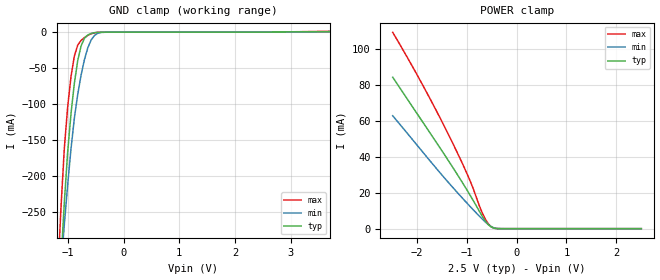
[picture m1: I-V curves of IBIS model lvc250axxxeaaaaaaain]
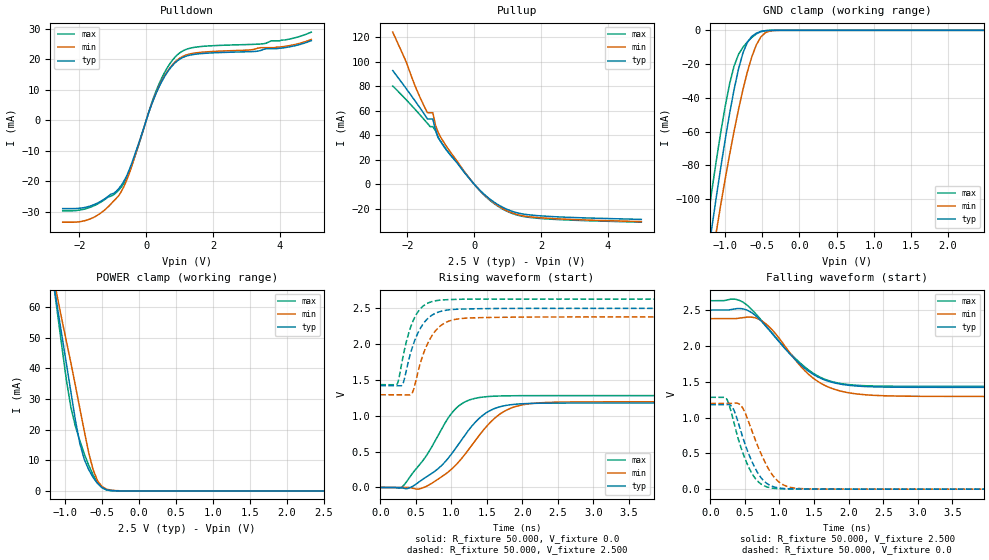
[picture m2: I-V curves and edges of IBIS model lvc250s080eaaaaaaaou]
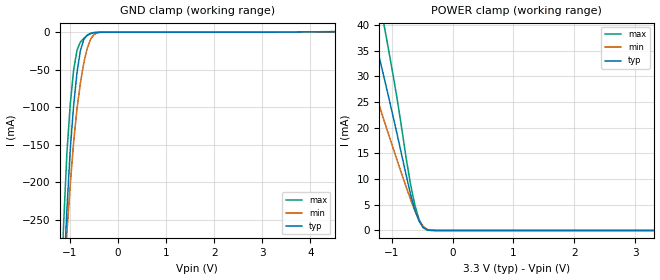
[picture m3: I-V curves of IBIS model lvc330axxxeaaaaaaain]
| IBIS Models Generator: Lattice Diamond (64-bit) 3.12.0.240.2
| Generate date: Sun Oct 31 18:49:16 2021
| IBIS File
| Lattice Semiconductor Corporation
[IBIS ver]   4.2
[File Name]   C200_FPGA_impl1.ibs
[File Rev]   2.8
[Date]   Mon Aug 19 18:47:03 PDT 2019
[Source]   Lattice Semiconductor umc40lp Process
   LFE5U-25F   FINAL
   Lattice Semiconductor has worked hard to ensure the
   models below are accurate and complete.  However, the
   data below was generated using simulation of the
   input/output model files for the silicon.  Therefore,
   the data below is for reference and initial design
   purposes only.
   Lattice Semiconductor grants permission to use this
   data for use in printed circuit design using this
   Lattice programmable logic device.  Other use of this
   code, including the selling or duplication of any
   portion is strictly prohibited.
|   NAMING CONVENTION
   The IBIS [Model] header is limited by the specification to a
   total of characters.  With such a set of characters available
   for naming models it becomes important to attempt to
   meaningfully encode the IO standards so they fit within the
   twenty character limit.  It would seem that twenty characters
   would provide room enough for describing IO's.  However, the
   PLD IO structure continues to grow more and more complex.  The
   complexity is making the twenty characters insuffiently
   descriptive.  In order to overcome this issue the naming
   convention described below is implemented to resolve the issue.
The twenty character space is managed as follows:
   bbbvvvsdddprttaaoixx
   b = standard
   v = voltage (x.xx V)
   s = slew code
   d = drive (xx.x ma)
   p = pullmode code
   r = impedance
   t = termination code
   o = diff resistor code
   i = diff  current code
   x = reserved
   standard
   LVCMOS   lvc
   lvcmosd   lvd
   LVDS25e   lve
   LVTTL   lvt
   lvttld   ltd
   sstl_I   ss1
   sstl_II   ss2
   sstld_I   s1d
   sstld_II   s2d
   hsul12   hs1
   hsul12d   h1d
   lvds   lvs
   blvds25   blv
   blvds25e   blv
   mlvds   mlv
   mlvds25e   mle
   lvpecl33   lvp
   lvpecl33e   lvp
   sublvds   slv
   slvs   svs
   slvs15e   sve
   mipi   mip
   vref1   vr1
   slew
   na   a
   fast   f
   slow   s
   pullmode
   off   a
   clamp   e
   impedance
   off   a
   termination
   off   aa
   50   cc
   75   dd
   150   ee
   differential resistor
   off   a
   100   b
   differential current
   NA   a
   3.5   c
   Reserved   IO type
   in   input only
   ou   output
   io   I/O
   od   Open drain
   on   Inverting differential I/O
   (signal name only)
   op   Non-Inverting differential I/O
   (signal name only)
   All the IO models are generated with pull mode set to none.
   Lattice Semiconductor Corporation
   5555 NE Moore Court
   Hillsboro, OR 97214
   U.S.A
   TEL: 1-800-Lattice (USA and Canada)
   408-826-6000 (other locations)
   web: http://www.latticesemi.com/
   email: techsupport@latticesemi.com
The IBIS models by default includes the worst case package data
under [package].  If detailed package model is required , it can be
enable using [package model] keyword.
The .pkg files are included in the zip file with the IBIS models.
The .pkg file has to be located in the same directory as IBIS file.
[Disclaimer] This IBIS source code is intended as a design reference
   which illustrates how the Lattice Semiconductor device operates.
   It is the user's responsibility to verify their design for
   consistency and functionality through the use of formal
   verification methods.  Lattice Semiconductor provides no warranty
   regarding the use or functionality of this data.
[Copyright]   Copyright 2007 by Lattice Semiconductor Corporation
|   Component SAPPHIRE
[Component]   SAPPHIRE
[Manufacturer]   Lattice Semiconductor Corp.
[Package]
|CABGA256
| variable   typ   min   max
R_pkg   301.88m   168.88m   475.12m
L_pkg   4.862nH   2.153nH   8.583nH
C_pkg   0.654pF   0.3926pF   1.017pF
[Pin]  signal_name   model_name   R_pin   L_pin   C_pin
P5   o_flash_wp   lvc250s080eaaaaaaaou
T2   o_flash_hold   lvc250s080eaaaaaaaou
C2   i_opto_switch   lvc330axxxeaaaaaaain
A2   o_spi_cs   lvc330s080eaaaaaaaou
T6   o_flash_clk   lvc250s080eaaaaaaaou
A3   o_spi_dclk   lvc330s080eaaaaaaaou
R7   o_program_n   lvc330s080aaaaaaaaod
A4   i_spi_miso   lvc330axxxeaaaaaaain
T7   i_flash_miso   lvc250axxxeaaaaaaain
T8   o_flash_mosi   lvc250s080eaaaaaaaou
N8   o_flash_cs   lvc250s080eaaaaaaaou
B5   o_motor_pwm   lvc330s080eaaaaaaaou
A5   o_spi_mosi   lvc330s080eaaaaaaaou
E7   i_clk_50m   lvc330axxxeaaaaaaain
A7   o_w5500_rst   lvc330s080eaaaaaaaou
A10   i_tdc_init   lvc330axxxeaaaaaaain
A11   o_tdc_spi_ssn   lvc330s080eaaaaaaaou
A12   o_tdc_spi_clk   lvc330s080eaaaaaaaou
B12   o_tdc_start   lvc330s080eaaaaaaaou
C12   o_adc_cs2   lvc330s080eaaaaaaaou
B13   o_tdc_stop2   lvc330s080eaaaaaaaou
C13   o_led_state   lvc330s080eaaaaaaaou
D13   o_dac_scl   lvc330s080eaaaaaaaou
E13   o_dac_sda   lvc330s080eaaaaaaaou
A13   o_tdc_spi_mosi   lvc330s080eaaaaaaaou
A14   i_tdc_spi_miso   lvc330axxxeaaaaaaain
B14   o_tdc_stop1   lvc330s080eaaaaaaaou
A15   o_tdc_reset   lvc330s080eaaaaaaaou
T13   io_sram_data[7]   lvc330s080eaaaaaaaio
T14   o_sram_addr[11]   lvc330s080eaaaaaaaou
R13   io_sram_data[15]   lvc330s080eaaaaaaaio
R14   o_sram_addr[10]   lvc330s080eaaaaaaaou
P13   io_sram_data[14]   lvc330s080eaaaaaaaio
T15   o_sram_addr[13]   lvc330s080eaaaaaaaou
R15   io_sram_data[6]   lvc330s080eaaaaaaaio
P14   o_sram_addr[9]   lvc330s080eaaaaaaaou
N13   io_sram_data[13]   lvc330s080eaaaaaaaio
N14   o_sram_addr[8]   lvc330s080eaaaaaaaou
M13   io_sram_data[12]   lvc330s080eaaaaaaaio
P16   io_sram_data[5]   lvc330s080eaaaaaaaio
M14   o_sram_addr[14]   lvc330s080eaaaaaaaou
L14   o_sram_addr[7]   lvc330s080eaaaaaaaou
P15   o_sram_addr[12]   lvc330s080eaaaaaaaou
N16   o_sram_we_n   lvc330s080eaaaaaaaou
L12   io_sram_data[11]   lvc330s080eaaaaaaaio
K12   io_sram_data[9]   lvc330s080eaaaaaaaio
M15   o_sram_addr[16]   lvc330s080eaaaaaaaou
M16   o_sram_addr[15]   lvc330s080eaaaaaaaou
L15   io_sram_data[2]   lvc330s080eaaaaaaaio
L16   io_sram_data[4]   lvc330s080eaaaaaaaio
K15   o_sram_addr[6]   lvc330s080eaaaaaaaou
K16   io_sram_data[3]   lvc330s080eaaaaaaaio
J15   o_sram_addr[5]   lvc330s080eaaaaaaaou
J16   o_sram_addr[17]   lvc330s080eaaaaaaaou
J14   o_sram_cs_n   lvc330s080eaaaaaaaou
H15   io_sram_data[1]   lvc330s080eaaaaaaaio
J12   io_sram_data[8]   lvc330s080eaaaaaaaio
J13   io_sram_data[10]   lvc330s080eaaaaaaaio
H13   o_sram_ub_n   lvc330s080eaaaaaaaou
H14   o_sram_addr[3]   lvc330s080eaaaaaaaou
G15   io_sram_data[0]   lvc330s080eaaaaaaaio
F16   o_sram_addr[4]   lvc330s080eaaaaaaaou
E16   o_sram_addr[1]   lvc330s080eaaaaaaaou
F15   o_sram_oe_n   lvc330s080eaaaaaaaou
E15   o_sram_addr[0]   lvc330s080eaaaaaaaou
D16   o_sram_addr[2]   lvc330s080eaaaaaaaou
F14   o_sram_lb_n   lvc330s080eaaaaaaaou
E14   o_dac_cs   lvc330s080eaaaaaaaou
C15   o_adc_sclk   lvc330s080eaaaaaaaou
C16   i_adc_sda   lvc330axxxeaaaaaaain
D14   o_laser_str   lvc330s080eaaaaaaaou
C14   o_hv_en   lvc330s080eaaaaaaaou
B16   o_adc_cs1   lvc330s080eaaaaaaaou
| Models and submodels in the file (6): lvc250axxxeaaaaaaain (Input), lvc250s080eaaaaaaaou (Output), lvc330axxxeaaaaaaain (Input), lvc330s080aaaaaaaaod (I/O_open_drain), lvc330s080eaaaaaaaio (I/O), lvc330s080eaaaaaaaou (Output)
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[Model] lvc250axxxeaaaaaaain
Model_type Input
Polarity   Non-Inverting
Vinl =  0.700V
Vinh =  1.700V
C_comp   3.899pF   3.881pF   3.925pF
[Temperature Range]   25.000   0.125k   -40.000
[Voltage Range]   2.500V   2.380V   2.630V
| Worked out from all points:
|   GND clamp passes 1 mA (typ) near -0.54 V on its own axis
|   POWER clamp passes 1 mA (typ) near -0.51 V on its own axis
[GND_clamp]
|Voltage   I(typ)   I(min)   I(max)
-2.5V     -3.07A     -2.187A    -4.081A
-1.18V    -407.1mA   -387.7mA   -341.4mA
-1.12V    -318.4mA   -325.7mA   -243.5mA
-1.06V    -236.4mA   -267.1mA   -161.1mA
-1V       -166.1mA   -212mA     -103.6mA
-940mV    -112.8mA   -161.5mA   -61.35mA
-820mV    -39.36mA   -86.41mA   -17.99mA
-760mV    -19.05mA   -59.65mA   -11.43mA
-640mV    -3.861mA   -21.85mA   -4.556mA
-520mV    -690.7uA   -4.492mA   -828.9uA
-340mV    -8.603uA   -109.8uA   -6.557uA
4.98V     1.752mA    1.203mA    2.322mA
[POWER_clamp]
|Voltage   I(typ)   I(min)   I(max)
-2.48V    84.32mA    62.88mA    109.3mA
-1.94V    61.91mA    44.74mA    83.06mA
-1.46V    41.93mA    28.79mA    57.77mA
-1.16V    29.03mA    19.33mA    40.78mA
-980mV    20.95mA    13.86mA    29.88mA
-860mV    15.32mA    10.31mA    21.76mA
-740mV    9.474mA    6.847mA    12.43mA
-680mV    6.568mA    5.18mA     8.377mA
-560mV    2.092mA    2.141mA    2.486mA
-500mV    818.1uA    1.015mA    868.6uA
-320mV    4.853uA    22.67uA    1.291uA
2.5V      -341.3nA   -32nA      -512.6nA
[Model] lvc250s080eaaaaaaaou
Model_type  Output
Polarity   Non-Inverting
Enable   Active-Low
Vmeas =  1.250V
Cref =  0.0F
Rref =  1.000M
Vref =  0.0V
C_comp   5.000pF   4.000pF   5.500pF
[Temperature Range]   25.000   0.125k   -40.000
[Voltage Range]   2.500V   2.380V   2.630V
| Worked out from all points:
|   slope of the pulldown table from 0 to 0.375 V, typ, clamps not added: 34.9 ohm
|   slope of the pullup table from 0 to 0.375 V, typ, clamps not added: 37.3 ohm
|   GND clamp passes 1 mA (typ) near -0.54 V on its own axis
|   POWER clamp passes 1 mA (typ) near -0.49 V on its own axis
|   rising waveform, R_fixture 50.000, V_fixture 0.0: 20-80 % time 588ps typ, 614ps min, 495ps max; typ from 0 V to 1.18 V
|   rising waveform, R_fixture 50.000, V_fixture 2.500: 20-80 % time 238ps typ, 252ps min, 203ps max; typ from 1.42 V to 2.5 V
|   falling waveform, R_fixture 50.000, V_fixture 2.500: 20-80 % time 640ps typ, 594ps min, 698ps max; typ from 2.5 V to 1.42 V
|   falling waveform, R_fixture 50.000, V_fixture 0.0: 20-80 % time 281ps typ, 321ps min, 265ps max; typ from 1.18 V to 0 V
[Pulldown]
|Voltage   I(typ)   I(min)   I(max)
-2.5V     -29mA      -33.45mA   -29.74mA
-1.54V    -27.59mA   -31.68mA   -27.93mA
-1.14V    -24.97mA   -28.41mA   -25.2mA
-740mV    -21.24mA   -23.27mA   -21.81mA
-420mV    -13.7mA    -14.59mA   -14.42mA
60mV      2.026mA    2.064mA    2.192mA
300mV     8.946mA    9.108mA    9.732mA
620mV     15.57mA    15.83mA    17.06mA
940mV     19.56mA    19.88mA    21.55mA
1.42V     21.58mA    21.99mA    23.88mA
3.5V      23.2mA     23.8mA     25.08mA
4.94V     26.12mA    26.49mA    28.92mA
[Pullup]
|Voltage   I(typ)   I(min)   I(max)
-2.44V    92.93mA    124.4mA    80.33mA
-2.04V    78.33mA    100.3mA    69.18mA
-1.48V    56.75mA    62.79mA    52.24mA
-1.4V     53.32mA    58.48mA    49.81mA
-1.24V    53.32mA    58.48mA    47.1mA
-1.16V    44.56mA    48.35mA    43.82mA
-1V       34.69mA    38.28mA    34.86mA
-120mV    3.778mA    3.962mA    4.059mA
520mV     -13.17mA   -13.8mA    -14.24mA
1.08V     -21.58mA   -22.85mA   -23.28mA
1.64V     -24.99mA   -26.54mA   -27.06mA
5V        -28.73mA   -30.54mA   -31.01mA
[GND_clamp]
|Voltage   I(typ)   I(min)   I(max)
-2.5V     -600.3mA   -576.2mA   -594.4mA
-1.24V    -136mA     -154.5mA   -113.9mA
-1.18V    -117.2mA   -136.7mA   -95.27mA
-1.12V    -99.04mA   -119.7mA   -77.45mA
-1V       -64.9mA    -88.21mA   -45.19mA
-880mV    -35.12mA   -59.82mA   -21.21mA
-760mV    -13.33mA   -35.03mA   -10mA
-700mV    -7.01mA    -24.46mA   -6.829mA
-580mV    -1.679mA   -8.593mA   -2.127mA
-460mV    -210.1uA   -1.441mA   -213.7uA
-340mV    -8.598uA   -109.2uA   -6.553uA
2.48V     0A         0A         0A
[POWER_clamp]
|Voltage   I(typ)   I(min)   I(max)
-2.48V    301.8mA    269mA      334.4mA
-1.16V    68.59mA    70.21mA    68.47mA
-1.1V     59.33mA    62.74mA    57.51mA
-980mV    41.18mA    48.59mA    35.82mA
-920mV    32.13mA    41.65mA    27.11mA
-860mV    23.04mA    34.34mA    21.08mA
-800mV    15.49mA    26.9mA     16.35mA
-740mV    10.29mA    19.52mA    12.1mA
-620mV    4.381mA    6.888mA    5.184mA
-560mV    2.412mA    3.25mA     2.719mA
-440mV    397.7uA    604uA      311uA
2.5V      0A         0A         0A
[Ramp]
| variable   typ   min   max
dV/dt_r 0.707/0.589n   0.717/0.626n   0.769/0.501n
dV/dt_f 0.647/0.648n   0.652/0.602n   0.717/0.706n
R_load = 50.000
[Rising Waveform]
R_fixture= 50.000
V_fixture= 0.0
V_fixture_min= 0.0
V_fixture_max= 0.0
|time   V(typ)   V(min)   V(max)
0s        0V         0V         0V
302ps     -5.322mV   -135.2uV   4mV
424ps     -18.48uV   -4.353mV   156.7mV
681ps     168mV      32.1mV     493.5mV
870ps     313.4mV    153.5mV    828.5mV
1.053ns   535.9mV    302.4mV    1.092V
1.429ns   996.8mV    773.6mV    1.26V
1.788ns   1.148V     1.085V     1.279V
2.303ns   1.176V     1.185V     1.282V
10ns      1.179V     1.196V     1.282V
[Rising Waveform]
R_fixture= 50.000
V_fixture= 2.500
V_fixture_min= 2.380
V_fixture_max= 2.630
|time   V(typ)   V(min)   V(max)
0s        1.421V     1.294V     1.435V
240ps     1.421V     1.294V     1.448V
320ps     1.45V      1.294V     1.827V
439ps     1.919V     1.303V     2.27V
524ps     2.145V     1.589V     2.442V
629ps     2.316V     1.926V     2.551V
824ps     2.45V      2.237V     2.613V
1.074ns   2.488V     2.35V      2.626V
1.661ns   2.499V     2.375V     2.63V
10ns      2.5V       2.38V      2.63V
[Falling Waveform]
R_fixture= 50.000
V_fixture= 2.500
V_fixture_min= 2.380
V_fixture_max= 2.630
|time   V(typ)   V(min)   V(max)
0s        2.5V       2.38V      2.63V
412ps     2.521V     2.386V     2.638V
563ps     2.484V     2.402V     2.542V
723ps     2.359V     2.361V     2.375V
914ps     2.149V     2.203V     2.155V
1.406ns   1.657V     1.617V     1.675V
1.654ns   1.524V     1.449V     1.535V
1.956ns   1.455V     1.353V     1.464V
2.933ns   1.422V     1.296V     1.435V
10ns      1.421V     1.294V     1.435V
[Falling Waveform]
R_fixture= 50.000
V_fixture= 0.0
V_fixture_min= 0.0
V_fixture_max= 0.0
|time   V(typ)   V(min)   V(max)
0s        1.179V     1.196V     1.282V
243ps     1.181V     1.196V     1.249V
332ps     1.122V     1.198V     962.6mV
442ps     808.2mV    1.168V     585.3mV
652ps     285.8mV    685.3mV    148.2mV
766ps     123.7mV    426.2mV    53.02mV
903ps     37.7mV     192.5mV    13.99mV
1.104ns   6.835mV    40.59mV    2.834mV
1.432ns   1.588mV    4.13mV     1.107mV
10ns      0V         0V         0V
[Model] lvc330axxxeaaaaaaain
Model_type Input
Polarity   Non-Inverting
Vinl =  0.800V
Vinh =  2.000V
C_comp   3.841pF   3.841pF   3.860pF
[Temperature Range]   25.000   0.125k   -40.000
[Voltage Range]   3.300V   3.140V   3.470V
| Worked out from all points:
|   GND clamp passes 1 mA (typ) near -0.53 V on its own axis
|   POWER clamp passes 1 mA (typ) near -0.50 V on its own axis
[GND_clamp]
|Voltage   I(typ)   I(min)   I(max)
-3.3V     -4.927A    -3.455A    -6.917A
-1.2V     -438.1mA   -409.1mA   -376.6mA
-1.13V    -332.7mA   -335.8mA   -259mA
-1.06V    -236.4mA   -267.1mA   -161.1mA
-990mV    -156.1mA   -203.2mA   -95.66mA
-920mV    -97.62mA   -146.3mA   -50.27mA
-850mV    -53.69mA   -101.9mA   -24mA
-780mV    -24.61mA   -67.98mA   -13.11mA
-710mV    -9.695mA   -41.33mA   -8.146mA
-570mV    -1.528mA   -9.486mA   -1.957mA
-290mV    -1.561uA   -33.47uA   -868.6nA
6.58V     1.74mA     1.178mA    2.308mA
[POWER_clamp]
|Voltage   I(typ)   I(min)   I(max)
-3.28V    129.1mA    106.9mA    153.6mA
-1.6V     52.73mA    39.39mA    69.01mA
-1.32V    39.47mA    28.73mA    52.34mA
-1.25V    36.07mA    26.11mA    48.02mA
-1.11V    29.12mA    20.93mA    39.16mA
-900mV    18.26mA    13.35mA    25mA
-690mV    7.137mA    6.13mA     9.076mA
-620mV    4.083mA    3.935mA    5.064mA
-550mV    1.846mA    2.033mA    2.166mA
-480mV    555.3uA    760.1uA    553.6uA
-410mV    97.55uA    197.5uA    70.38uA
3.3V      0A         0A         0A
